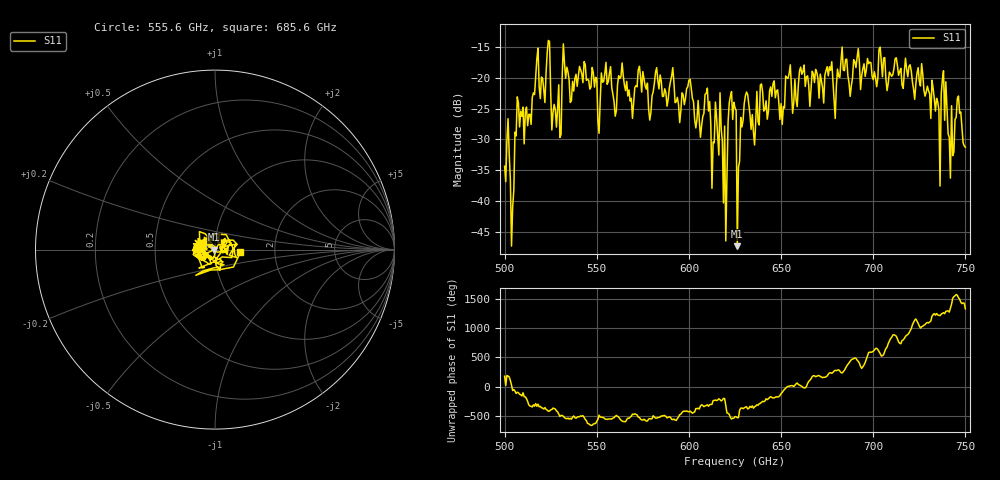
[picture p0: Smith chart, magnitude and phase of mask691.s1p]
!Created with skrf (http://scikit-rf.org).
# GHz S MA R 50.0
!freq magS11 angS11
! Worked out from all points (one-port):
!   401 points, 500 GHz to 750 GHz, reference 50 ohm
!   lowest |S11| = -47.4 dB at 626.2 GHz (marker M1), VSWR 1.01, Z = 49.6 - j0.0577 ohm
!   |S11| at or under -10 dB: start of sweep to end of sweep
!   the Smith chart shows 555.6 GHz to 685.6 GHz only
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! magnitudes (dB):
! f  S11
! 500 GHz  -34.4
! 503.8 GHz  -47.3
! 506.9 GHz  -23.1
! 513.8 GHz  -25.9
! 516.9 GHz  -19.7
! 523.8 GHz  -13.9
! 526.9 GHz  -24.3
! 531.2 GHz  -19.6
! 533.1 GHz  -20.1
! 562.5 GHz  -20.1
! 593.8 GHz  -23.2
! 610 GHz  -21.6
! 612.5 GHz  -38.0
! 618.1 GHz  -30.2
! 619.4 GHz  -27.8
! 622.5 GHz  -23.0
! 625 GHz  -24.8
! 626.2 GHz  -47.4
! 631.2 GHz  -22.3
! 635 GHz  -28.7
! 656.2 GHz  -25.7
! 687.5 GHz  -23.0
! 718.8 GHz  -19.8
! 735 GHz  -23.9
! 738.1 GHz  -18.8
! 742.5 GHz  -24.5
! 746.2 GHz  -22.9
! 750 GHz  -31.3
